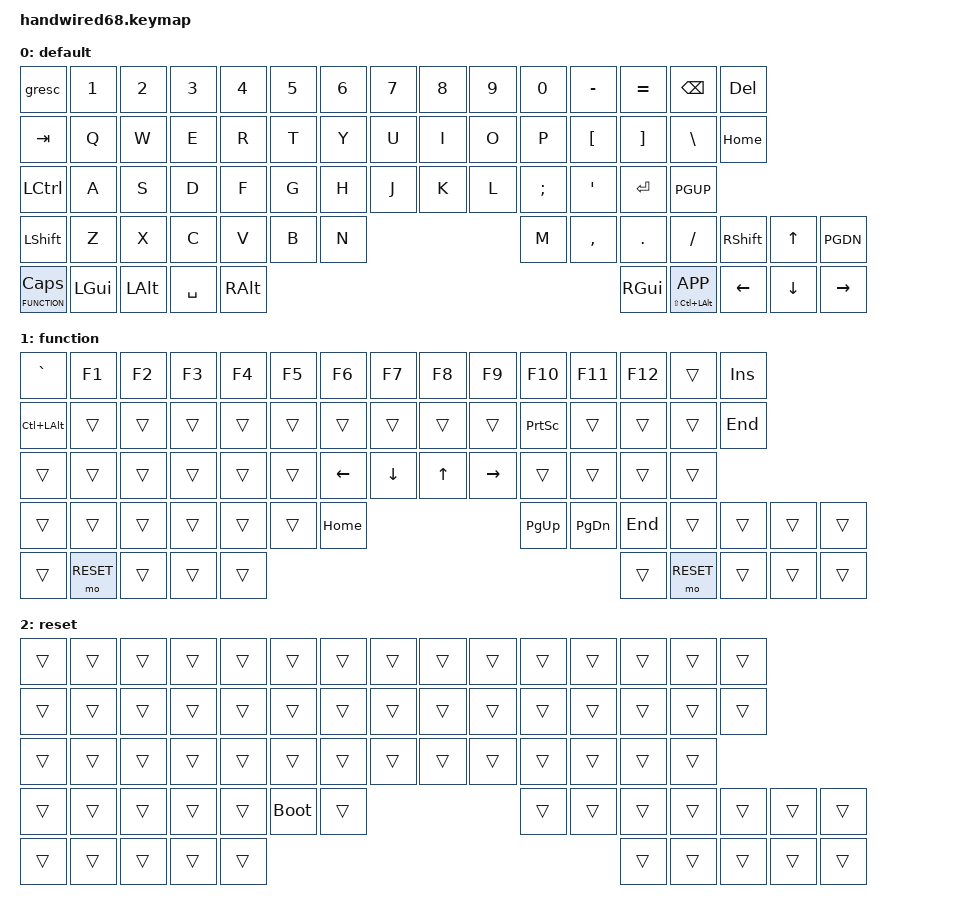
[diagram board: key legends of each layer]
/*
 * Copyright (c) 2020 The ZMK Contributors
 *
 * SPDX-License-Identifier: MIT
 */

#include <behaviors.dtsi>
#include <dt-bindings/zmk/keys.h>

#define MEH LS(LC(LALT))
#define FUNCTION 1
#define RESET    2

/ {
	keymap0: keymap {
		compatible = "zmk,keymap";

		default {
// default Keymap
// ,----------------------------------------------------------------.
// |GEsc| 1|  2|  3|  4|  5|  6|  7|  8|  9|  0|  -|  =|Backsp |Del |
// |----------------------------------------------------------------|
// |Tab  |  Q|  W|  E|  R|  T|  Y|  U|  I|  O|  P|  [|  ]|  \  |Home|
// |----------------------------------------------------------------|
// |Ctrl     |A|  S|  D|  F|  G|  H|  J|  K|  L|  ;|  '|Return |PgUp|
// |----------------------------------------------------------------|
// |Shift   |  Z|  X|  C|  V|  B|  N|  M|  ,|  .|  /|Shift | Up|PgDn|
// |----------------------------------------------------------------|
// | Fn |Win |Alt |        Space          |Alt|Win| Fn |Lef|Dow|Rig |
// `----------------------------------------------------------------'
// 
			bindings = <
&gresc &kp N1 &kp N2 &kp N3 &kp N4 &kp N5 &kp N6 &kp N7 &kp N8 &kp N9 &kp N0 &kp MINUS &kp EQUAL &kp   BKSP &kp DEL
&kp TAB   &kp Q  &kp W  &kp E  &kp R  &kp T  &kp Y  &kp U  &kp I  &kp O  &kp P  &kp LBKT &kp RBKT  &kp BSLH   &kp HOME
&kp LCTRL  &kp A  &kp S  &kp D  &kp F  &kp G  &kp H  &kp J  &kp K  &kp L  &kp SEMI &kp SQT         &kp ENTER    &kp PGUP
&kp LSHIFT &kp Z  &kp X  &kp C  &kp V  &kp B  &kp N  &kp M  &kp COMMA &kp DOT &kp FSLH &kp RSHIFT      &kp UP  &kp PGDN
&lt FUNCTION CAPS &kp LGUI &kp LALT    &kp SPC                        &kp RALT &kp RGUI &mt MEH K_APP   &kp LEFT &kp DOWN &kp RIGHT
>;
		};

		function {
// function Keymap
// ,----------------------------------------------------------------.
// |   | F1|F2 |F3 |F4 |F5 |F6 |F7 |F8 |F9 |F10|F11|F12|Del    |Ins |
// |----------------------------------------------------------------|
// |     |   |   |   |   |   |   |   |   |   |PrtScn|  |  |    |End |
// |----------------------------------------------------------------|
// |       |  |   |   |   |   | <-|Up | Dn| ->|   |   |        |    |
// |----------------------------------------------------------------|
// | CapsLk |   |   |   |   |Reset| |   |   |   |   |      |   |    |
// |----------------------------------------------------------------|
// |    |raise|    |                       |   |   |    |   |   |   |
// `----------------------------------------------------------------'
// 
			bindings = <
&kp GRAVE &kp F1 &kp F2 &kp F3 &kp F4 &kp F5 &kp F6 &kp F7 &kp F8 &kp F9 &kp F10 &kp F11 &kp F12 &trans  &kp INS
&kp LC(LALT) &trans &trans &trans &trans &trans &trans &trans &trans &trans &kp PSCRN &trans &trans &trans &kp END
&trans &trans &trans &trans &trans &trans &kp LEFT &kp DOWN &kp UP &kp RIGHT &trans &trans          &trans &trans
&trans           &trans &trans &trans &trans &trans   &kp HOME &kp PG_UP &kp PG_DN &kp END &trans &trans &trans &trans
&trans &mo RESET &trans                            &trans                   &trans &trans  &mo RESET &trans &trans &trans
>;
		};

		reset {
// reset Keymap
// ,----------------------------------------------------------------.
// |   |   |   |   |   |   |   |   |   |   |   |   |   |       |    |
// |----------------------------------------------------------------|
// |     |   |   |   |   |   |   |   |   |   |      |  |  |    |    |
// |----------------------------------------------------------------|
// |      |   |   |   |   |   | Hm|PgDn|PgUp|End| |   |        |    |
// |----------------------------------------------------------------|
// |        |   |   |   |   |     | |   |   |   |   |      |   |    |
// |----------------------------------------------------------------|
// |    |    |    |                       |   |   |    |   |   |    |
// `----------------------------------------------------------------'
// 
			bindings = <
&trans &trans &trans &trans &trans &trans &trans &trans &trans &trans &trans &trans &trans &trans &trans
&trans &trans &trans &trans &trans &trans &trans &trans &trans &trans &trans &trans &trans &trans &trans
&trans &trans &trans &trans &trans &trans &trans &trans &trans &trans &trans &trans &trans &trans
&trans          &trans &trans &trans &trans &bootloader &trans   &trans &trans &trans &trans       &trans &trans &trans
&trans &trans &trans                   &trans                            &trans &trans   &trans  &trans &trans &trans
>;
		};
	};
};
